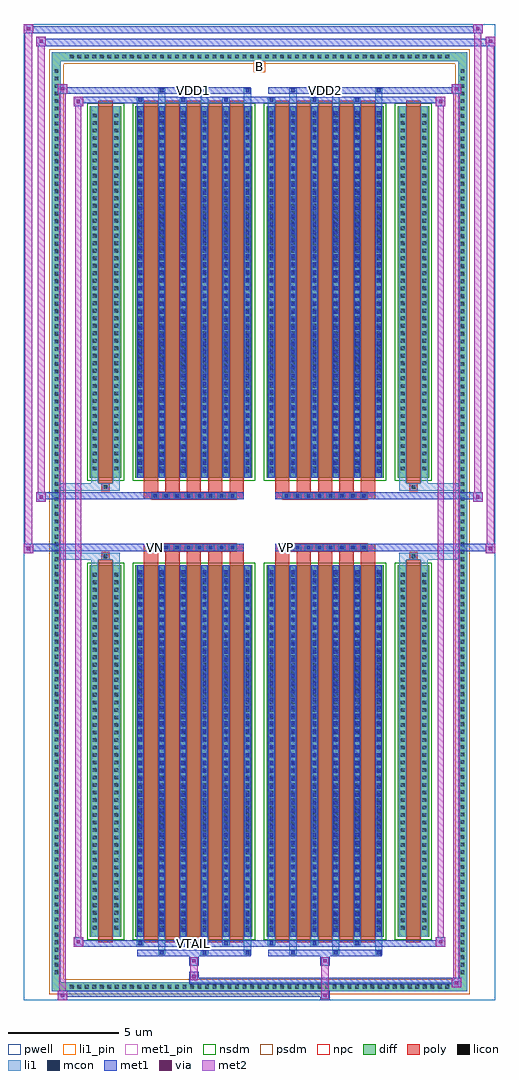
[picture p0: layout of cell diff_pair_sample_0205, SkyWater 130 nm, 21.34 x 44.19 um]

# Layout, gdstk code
import gdstk
lib = gdstk.Library(unit=1e-6, precision=5e-09)
def R(c, l, rs):  # rectangles x0, y0, x1, y1
    for r in rs: c.add(gdstk.rectangle(r[:2], r[2:], *l))
def A(c, l, x, y, w, h, nx, ny, dx, dy):  # array of equal rectangles
    R(c, l, [(x+i*dx, y+j*dy, x+i*dx+w, y+j*dy+h) for i in range(nx) for j in range(ny)])
def P(c, l, *ps):  # polygons
    for p in ps: c.add(gdstk.Polygon(p, *l))
pwell = (64, 44)
diff = (65, 20)
poly = (66, 20)
licon = (66, 44)
li1_pin = (67, 16)
li1 = (67, 20)
mcon = (67, 44)
met1_pin = (68, 16)
met1 = (68, 20)
via = (68, 44)
met2 = (69, 20)
nsdm = (93, 44)
psdm = (94, 20)
npc = (95, 20)

diff_pair_sample_0205 = lib.new_cell('diff_pair_sample_0205')
R(diff_pair_sample_0205, pwell, [(-10.67,-21.66,10.67,22.53), (-7.99,-19.85,-0.01,-0.805), (0.01,-19.85,7.99,-0.805), (-7.99,0.805,-0.01,19.85), (0.01,0.805,7.99,19.85)])
A(diff_pair_sample_0205, diff, -8.705, -21.26, 0.41, 0.41, 51, 2, 0.34, 42.11)
A(diff_pair_sample_0205, diff, -9.4, -20.605, 0.41, 0.41, 1, 121, 0, 0.34)
A(diff_pair_sample_0205, diff, 8.99, -20.605, 0.41, 0.41, 1, 121, 0, 0.34)
R(diff_pair_sample_0205, diff, [(-8.705,-21.26,8.705,-20.85), (-9.4,-20.605,-8.99,20.605), (8.99,-20.605,9.4,20.605), (-7.68,-18.805,-6.26,-1.985), (-5.62,-18.805,-0.32,-1.985), (0.32,-18.805,5.62,-1.985), (6.26,-18.805,7.68,-1.985), (-7.68,1.985,-6.26,18.805), (-5.62,1.985,-0.32,18.805), (0.32,1.985,5.62,18.805), (6.26,1.985,7.68,18.805), (-8.705,20.85,8.705,21.26)])
P(diff_pair_sample_0205, diff, [(9.4,21.26),(-9.4,21.26),(-9.4,-20.85),(-8.99,-20.85),(-8.99,20.85),(8.99,20.85),(8.99,-20.85),(-8.99,-20.85),(-9.4,-20.85),(-9.4,-21.26),(9.4,-21.26)])
A(diff_pair_sample_0205, poly, -5.23, -19.055, 0.64, 17.32, 5, 2, 0.97, 20.79)
A(diff_pair_sample_0205, poly, 0.71, -19.055, 0.64, 17.32, 5, 2, 0.97, 20.79)
A(diff_pair_sample_0205, poly, -5.23, -1.735, 0.64, 0.4, 5, 2, 0.97, 3.07)
A(diff_pair_sample_0205, poly, 0.71, -1.735, 0.64, 0.4, 5, 2, 0.97, 3.07)
A(diff_pair_sample_0205, poly, -4.885, -1.335, 0.33, 0.33, 8, 2, 0.5, 2.34)
A(diff_pair_sample_0205, poly, 1.055, -1.335, 0.33, 0.33, 8, 2, 0.5, 2.34)
R(diff_pair_sample_0205, poly, [(-7.29,-19.055,-6.65,-1.735), (6.65,-19.055,7.29,-1.735), (-7.135,-1.735,-6.805,-1.405), (-7.135,-1.735,-6.805,-1.405), (6.805,-1.735,7.135,-1.405), (6.805,-1.735,7.135,-1.405), (-5.23,-1.335,-0.71,-1.005), (0.71,-1.335,5.23,-1.005), (-5.23,1.005,-0.71,1.335), (0.71,1.005,5.23,1.335), (-7.135,1.405,-6.805,1.735), (-7.135,1.405,-6.805,1.735), (6.805,1.405,7.135,1.735), (6.805,1.405,7.135,1.735), (-7.29,1.735,-6.65,19.055), (6.65,1.735,7.29,19.055)])
A(diff_pair_sample_0205, licon, -8.585, -21.14, 0.17, 0.17, 51, 2, 0.34, 42.11)
A(diff_pair_sample_0205, licon, -9.28, -20.485, 0.17, 0.17, 1, 121, 0, 0.34)
A(diff_pair_sample_0205, licon, 9.11, -20.485, 0.17, 0.17, 1, 121, 0, 0.34)
A(diff_pair_sample_0205, licon, -7.54, -18.47, 0.17, 0.17, 1, 48, 0, 0.34)
A(diff_pair_sample_0205, licon, -6.57, -18.47, 0.17, 0.17, 1, 48, 0, 0.34)
A(diff_pair_sample_0205, licon, -5.48, -18.47, 0.17, 0.17, 6, 48, 0.97, 0.34)
A(diff_pair_sample_0205, licon, 0.46, -18.47, 0.17, 0.17, 6, 48, 0.97, 0.34)
A(diff_pair_sample_0205, licon, 6.4, -18.47, 0.17, 0.17, 1, 48, 0, 0.34)
A(diff_pair_sample_0205, licon, 7.37, -18.47, 0.17, 0.17, 1, 48, 0, 0.34)
A(diff_pair_sample_0205, licon, -4.805, -1.255, 0.17, 0.17, 8, 2, 0.5, 2.34)
A(diff_pair_sample_0205, licon, 1.135, -1.255, 0.17, 0.17, 8, 2, 0.5, 2.34)
A(diff_pair_sample_0205, licon, -7.54, 2.32, 0.17, 0.17, 1, 48, 0, 0.34)
A(diff_pair_sample_0205, licon, -6.57, 2.32, 0.17, 0.17, 1, 48, 0, 0.34)
A(diff_pair_sample_0205, licon, -5.48, 2.32, 0.17, 0.17, 6, 48, 0.97, 0.34)
A(diff_pair_sample_0205, licon, 0.46, 2.32, 0.17, 0.17, 6, 48, 0.97, 0.34)
A(diff_pair_sample_0205, licon, 6.4, 2.32, 0.17, 0.17, 1, 48, 0, 0.34)
A(diff_pair_sample_0205, licon, 7.37, 2.32, 0.17, 0.17, 1, 48, 0, 0.34)
R(diff_pair_sample_0205, licon, [(-7.055,-1.655,-6.885,-1.485), (6.885,-1.655,7.055,-1.485), (-7.055,1.485,-6.885,1.655), (6.885,1.485,7.055,1.655)])
R(diff_pair_sample_0205, li1_pin, [(-0.25,20.35,0.25,20.85)])
A(diff_pair_sample_0205, li1, -8.665, -21.22, 0.33, 0.33, 51, 2, 0.34, 42.11)
A(diff_pair_sample_0205, li1, -9.36, -20.565, 0.33, 0.33, 1, 121, 0, 0.34)
A(diff_pair_sample_0205, li1, 9.03, -20.565, 0.33, 0.33, 1, 121, 0, 0.34)
A(diff_pair_sample_0205, li1, -4.59, -19.61, 0.33, 0.805, 3, 2, 1.94, 38.415)
A(diff_pair_sample_0205, li1, -4.51, -19.61, 0.17, 0.17, 3, 2, 1.94, 39.05)
A(diff_pair_sample_0205, li1, 1.35, -19.61, 0.33, 0.805, 3, 2, 1.94, 38.415)
A(diff_pair_sample_0205, li1, 1.43, -19.61, 0.17, 0.17, 3, 2, 1.94, 39.05)
A(diff_pair_sample_0205, li1, -5.56, -19.18, 0.33, 0.375, 3, 2, 1.94, 37.985)
A(diff_pair_sample_0205, li1, -5.48, -19.18, 0.17, 0.17, 3, 2, 1.94, 38.19)
A(diff_pair_sample_0205, li1, 0.38, -19.18, 0.33, 0.375, 3, 2, 1.94, 37.985)
A(diff_pair_sample_0205, li1, 0.46, -19.18, 0.17, 0.17, 3, 2, 1.94, 38.19)
A(diff_pair_sample_0205, li1, -5.56, -18.805, 0.33, 16.82, 6, 2, 0.97, 20.79)
A(diff_pair_sample_0205, li1, 0.38, -18.805, 0.33, 16.82, 6, 2, 0.97, 20.79)
A(diff_pair_sample_0205, li1, -5.48, -18.58, 0.17, 0.17, 6, 46, 0.97, 0.36)
A(diff_pair_sample_0205, li1, -5.48, -18.58, 0.17, 16.37, 6, 2, 0.97, 20.79)
A(diff_pair_sample_0205, li1, 0.46, -18.58, 0.17, 0.17, 6, 46, 0.97, 0.36)
A(diff_pair_sample_0205, li1, 0.46, -18.58, 0.17, 16.37, 6, 2, 0.97, 20.79)
A(diff_pair_sample_0205, li1, -7.62, -18.55, 0.33, 0.33, 1, 48, 0, 0.34)
A(diff_pair_sample_0205, li1, -6.65, -18.55, 0.33, 0.33, 1, 48, 0, 0.34)
A(diff_pair_sample_0205, li1, -5.56, -18.55, 0.33, 0.33, 6, 48, 0.97, 0.34)
A(diff_pair_sample_0205, li1, 0.38, -18.55, 0.33, 0.33, 6, 48, 0.97, 0.34)
A(diff_pair_sample_0205, li1, 6.32, -18.55, 0.33, 0.33, 1, 48, 0, 0.34)
A(diff_pair_sample_0205, li1, 7.29, -18.55, 0.33, 0.33, 1, 48, 0, 0.34)
A(diff_pair_sample_0205, li1, -4.885, -1.335, 0.33, 0.33, 8, 2, 0.5, 2.34)
A(diff_pair_sample_0205, li1, 1.055, -1.335, 0.33, 0.33, 8, 2, 0.5, 2.34)
A(diff_pair_sample_0205, li1, -5.48, 2.21, 0.17, 0.17, 6, 46, 0.97, 0.36)
A(diff_pair_sample_0205, li1, 0.46, 2.21, 0.17, 0.17, 6, 46, 0.97, 0.36)
A(diff_pair_sample_0205, li1, -7.62, 2.24, 0.33, 0.33, 1, 48, 0, 0.34)
A(diff_pair_sample_0205, li1, -6.65, 2.24, 0.33, 0.33, 1, 48, 0, 0.34)
A(diff_pair_sample_0205, li1, -5.56, 2.24, 0.33, 0.33, 6, 48, 0.97, 0.34)
A(diff_pair_sample_0205, li1, 0.38, 2.24, 0.33, 0.33, 6, 48, 0.97, 0.34)
A(diff_pair_sample_0205, li1, 6.32, 2.24, 0.33, 0.33, 1, 48, 0, 0.34)
A(diff_pair_sample_0205, li1, 7.29, 2.24, 0.33, 0.33, 1, 48, 0, 0.34)
R(diff_pair_sample_0205, li1, [(-9.4,-21.26,-8.99,-20.85), (-9.4,-21.26,-8.99,-20.85), (-8.99,-21.26,8.99,-20.85), (8.99,-21.26,9.4,-20.85), (8.99,-21.26,9.4,-20.85), (-9.4,-20.85,-8.99,20.85), (8.99,-20.85,9.4,20.85), (-7.62,-18.805,-7.29,-1.985), (-6.65,-18.805,-6.32,-1.985), (6.32,-18.805,6.65,-1.985), (7.29,-18.805,7.62,-1.985), (-7.62,-1.985,-7.29,-1.405), (-6.65,-1.985,-6.32,-1.405), (6.32,-1.985,6.65,-1.405), (7.29,-1.985,7.62,-1.405), (-9.4,-1.735,-7.135,-1.405), (-7.62,-1.735,-7.135,-1.405), (-7.135,-1.735,-6.805,-1.405), (-6.805,-1.735,-6.32,-1.405), (6.32,-1.735,6.805,-1.405), (6.805,-1.735,7.135,-1.405), (6.805,-1.735,9.4,-1.405), (7.135,-1.735,7.62,-1.405), (-9.4,1.405,-7.135,1.735), (-7.62,1.405,-7.135,1.735), (-7.62,1.405,-7.29,1.985), (-7.135,1.405,-6.805,1.735), (-6.805,1.405,-6.32,1.735), (-6.65,1.405,-6.32,1.985), (6.32,1.405,6.805,1.735), (6.32,1.405,6.65,1.985), (6.805,1.405,7.135,1.735), (6.805,1.405,9.4,1.735), (7.135,1.405,7.62,1.735), (7.29,1.405,7.62,1.985), (-7.62,1.985,-7.29,18.805), (-6.65,1.985,-6.32,18.805), (6.32,1.985,6.65,18.805), (7.29,1.985,7.62,18.805), (-9.4,20.85,-8.99,21.26), (-9.4,20.85,-8.99,21.26), (-8.99,20.85,8.99,21.26), (8.99,20.85,9.4,21.26), (8.99,20.85,9.4,21.26)])
A(diff_pair_sample_0205, mcon, -4.51, -19.61, 0.17, 0.17, 3, 2, 1.94, 39.05)
A(diff_pair_sample_0205, mcon, 1.43, -19.61, 0.17, 0.17, 3, 2, 1.94, 39.05)
A(diff_pair_sample_0205, mcon, -5.48, -19.18, 0.17, 0.17, 3, 2, 1.94, 38.19)
A(diff_pair_sample_0205, mcon, 0.46, -19.18, 0.17, 0.17, 3, 2, 1.94, 38.19)
A(diff_pair_sample_0205, mcon, -5.48, -18.58, 0.17, 0.17, 6, 46, 0.97, 0.36)
A(diff_pair_sample_0205, mcon, 0.46, -18.58, 0.17, 0.17, 6, 46, 0.97, 0.36)
A(diff_pair_sample_0205, mcon, -4.805, -1.255, 0.17, 0.17, 8, 2, 0.5, 2.34)
A(diff_pair_sample_0205, mcon, 1.135, -1.255, 0.17, 0.17, 8, 2, 0.5, 2.34)
A(diff_pair_sample_0205, mcon, -5.48, 2.21, 0.17, 0.17, 6, 46, 0.97, 0.36)
A(diff_pair_sample_0205, mcon, 0.46, 2.21, 0.17, 0.17, 6, 46, 0.97, 0.36)
R(diff_pair_sample_0205, met1_pin, [(-3.105,-19.22,-2.835,-18.95), (-4.855,-1.295,-4.585,-1.025), (1.085,-1.295,1.355,-1.025), (-3.105,19.4,-2.835,19.67), (2.835,19.4,3.105,19.67)])
A(diff_pair_sample_0205, met1, -4.57, -19.67, 0.29, 0.29, 3, 2, 1.94, 39.05)
A(diff_pair_sample_0205, met1, 1.37, -19.67, 0.29, 0.29, 3, 2, 1.94, 39.05)
A(diff_pair_sample_0205, met1, -5.54, -19.24, 0.29, 0.29, 3, 2, 1.94, 38.19)
A(diff_pair_sample_0205, met1, 0.4, -19.24, 0.29, 0.29, 3, 2, 1.94, 38.19)
A(diff_pair_sample_0205, met1, -5.54, -18.805, 0.29, 16.82, 6, 2, 0.97, 20.79)
A(diff_pair_sample_0205, met1, 0.4, -18.805, 0.29, 16.82, 6, 2, 0.97, 20.79)
A(diff_pair_sample_0205, met1, -5.54, -18.64, 0.29, 0.29, 6, 46, 0.97, 0.36)
A(diff_pair_sample_0205, met1, 0.4, -18.64, 0.29, 0.29, 6, 46, 0.97, 0.36)
A(diff_pair_sample_0205, met1, -4.865, -1.315, 0.29, 0.29, 8, 2, 0.5, 2.34)
A(diff_pair_sample_0205, met1, 1.075, -1.315, 0.29, 0.29, 8, 2, 0.5, 2.34)
A(diff_pair_sample_0205, met1, -5.54, 2.15, 0.29, 0.29, 6, 46, 0.97, 0.36)
A(diff_pair_sample_0205, met1, 0.4, 2.15, 0.29, 0.29, 6, 46, 0.97, 0.36)
R(diff_pair_sample_0205, met1, [(-9.13,-21.66,-8.7,-21.23), (2.755,-21.66,3.185,-21.23), (-9.13,-21.52,3.185,-21.23), (8.7,-21.09,9.13,-20.66), (-3.185,-20.95,9.13,-20.66), (-3.185,-20.81,-2.755,-20.38), (-3.185,-20.1,-2.755,-19.67), (2.755,-20.1,3.185,-19.67), (-5.54,-19.67,-0.4,-19.38), (0.4,-19.67,5.54,-19.38), (-8.42,-19.24,-7.99,-18.81), (-8.42,-19.24,-5.54,-18.95), (-5.54,-19.24,-0.4,-18.95), (-0.4,-19.24,0.4,-18.95), (0.4,-19.24,5.54,-18.95), (5.54,-19.24,8.42,-18.95), (7.99,-19.24,8.42,-18.81), (-10.67,-1.435,-10.24,-1.005), (10.24,-1.435,10.67,-1.005), (-10.67,-1.335,-0.71,-1.005), (-5.23,-1.335,-0.71,-1.005), (0.71,-1.335,5.23,-1.005), (0.71,-1.335,10.67,-1.005), (-10.1,0.905,-9.67,1.335), (9.67,0.905,10.1,1.335), (-10.1,1.005,-5.23,1.335), (-5.23,1.005,-0.71,1.335), (0.71,1.005,5.23,1.335), (5.23,1.005,10.1,1.335), (-8.42,18.81,-7.99,19.24), (7.99,18.81,8.42,19.24), (-8.42,18.95,-5.54,19.24), (-5.54,18.95,-0.4,19.24), (-0.4,18.95,0.4,19.24), (0.4,18.95,5.54,19.24), (5.54,18.95,8.42,19.24), (-9.13,19.38,-8.7,19.81), (-9.13,19.38,-5.54,19.67), (-5.54,19.38,-0.4,19.67), (0.4,19.38,5.54,19.67), (5.54,19.38,9.13,19.67), (8.7,19.38,9.13,19.81), (-10.1,21.53,-9.67,21.96), (-10.1,21.53,-7.99,21.86), (-7.99,21.53,7.99,21.86), (7.99,21.53,10.67,21.86), (10.24,21.53,10.67,21.96), (-10.67,22.1,-10.24,22.53), (-10.67,22.1,-7.99,22.43), (-7.99,22.1,7.99,22.43), (7.99,22.1,10.1,22.43), (9.67,22.1,10.1,22.53)])
R(diff_pair_sample_0205, via, [(-8.99,-21.52,-8.84,-21.37), (2.895,-21.52,3.045,-21.37), (8.84,-20.95,8.99,-20.8), (-3.045,-20.67,-2.895,-20.52), (-3.045,-19.96,-2.895,-19.81), (2.895,-19.96,3.045,-19.81), (-8.28,-19.1,-8.13,-18.95), (8.13,-19.1,8.28,-18.95), (-10.53,-1.295,-10.38,-1.145), (10.38,-1.295,10.53,-1.145), (-9.96,1.045,-9.81,1.195), (9.81,1.045,9.96,1.195), (-8.28,18.95,-8.13,19.1), (8.13,18.95,8.28,19.1), (-8.99,19.52,-8.84,19.67), (8.84,19.52,8.99,19.67), (-9.96,21.67,-9.81,21.82), (10.38,21.67,10.53,21.82), (-10.53,22.24,-10.38,22.39), (9.81,22.24,9.96,22.39)])
R(diff_pair_sample_0205, met2, [(-9.13,-21.66,-8.7,-21.23), (-9.06,-21.66,-8.77,19.81), (-8.77,-21.66,-8.7,-21.23), (-9.08,-21.61,-8.75,-21.28), (2.805,-21.61,3.135,-21.28), (2.805,-21.28,3.135,-20.05), (8.7,-21.09,9.13,-20.66), (8.77,-21.09,9.06,19.81), (9.06,-21.09,9.13,-20.66), (8.75,-21.04,9.08,-20.71), (-3.135,-20.76,-2.805,-20.43), (-3.135,-20.43,-2.805,-20.05), (-3.135,-20.05,-2.805,-19.72), (2.805,-20.05,3.135,-19.72), (-8.42,-19.24,-7.99,-18.81), (-8.35,-19.24,-8.06,19.24), (-8.06,-19.24,-7.99,-18.81), (7.99,-19.24,8.42,-18.81), (8.06,-19.24,8.35,19.24), (8.35,-19.24,8.42,-18.81), (-8.37,-19.19,-8.04,-18.86), (8.04,-19.19,8.37,-18.86), (-10.67,-1.435,-10.24,-1.005), (-10.62,-1.435,-10.29,22.53), (-10.29,-1.435,-10.24,-1.005), (10.24,-1.435,10.67,-1.005), (10.29,-1.435,10.62,21.96), (10.62,-1.435,10.67,-1.005), (-10.62,-1.385,-10.29,-1.055), (10.29,-1.385,10.62,-1.055), (-10.1,0.905,-9.67,1.335), (-10.05,0.905,-9.72,21.96), (-9.72,0.905,-9.67,1.335), (9.67,0.905,10.1,1.335), (9.72,0.905,10.05,22.53), (10.05,0.905,10.1,1.335), (-10.05,0.955,-9.72,1.285), (9.72,0.955,10.05,1.285), (-8.42,18.81,-7.99,19.24), (-8.06,18.81,-7.99,19.24), (7.99,18.81,8.42,19.24), (8.35,18.81,8.42,19.24), (-8.37,18.86,-8.04,19.19), (8.04,18.86,8.37,19.19), (-9.13,19.38,-8.7,19.81), (-8.77,19.38,-8.7,19.81), (8.7,19.38,9.13,19.81), (9.06,19.38,9.13,19.81), (-9.08,19.43,-8.75,19.76), (8.75,19.43,9.08,19.76), (-10.1,21.53,-9.67,21.96), (-9.72,21.53,-9.67,21.96), (10.24,21.53,10.67,21.96), (10.62,21.53,10.67,21.96), (-10.05,21.58,-9.72,21.91), (10.29,21.58,10.62,21.91), (-10.67,22.1,-10.24,22.53), (-10.29,22.1,-10.24,22.53), (9.67,22.1,10.1,22.53), (10.05,22.1,10.1,22.53), (-10.62,22.15,-10.29,22.48), (9.72,22.15,10.05,22.48)])
R(diff_pair_sample_0205, nsdm, [(-7.81,-18.935,-6.13,-1.855), (-5.75,-18.935,-0.19,-1.855), (0.19,-18.935,5.75,-1.855), (6.13,-18.935,7.81,-1.855), (-7.81,1.855,-6.13,18.935), (-5.75,1.855,-0.19,18.935), (0.19,1.855,5.75,18.935), (6.13,1.855,7.81,18.935)])
P(diff_pair_sample_0205, psdm, [(9.53,21.39),(-9.53,21.39),(-9.53,-20.72),(-8.86,-20.72),(-8.86,20.72),(8.86,20.72),(8.86,-20.72),(-8.86,-20.72),(-9.53,-20.72),(-9.53,-21.39),(9.53,-21.39)])
A(diff_pair_sample_0205, npc, -4.905, -1.355, 0.37, 0.37, 8, 2, 0.5, 2.34)
A(diff_pair_sample_0205, npc, 1.035, -1.355, 0.37, 0.37, 8, 2, 0.5, 2.34)
R(diff_pair_sample_0205, npc, [(-7.155,-1.755,-6.785,-1.385), (6.785,-1.755,7.155,-1.385), (-4.905,-1.355,-4.035,-0.985), (-4.905,-1.355,-4.035,-0.985), (-4.405,-1.355,-3.535,-0.985), (-4.405,-1.355,-3.535,-0.985), (-3.905,-1.355,-3.035,-0.985), (-3.905,-1.355,-3.035,-0.985), (-3.405,-1.355,-2.535,-0.985), (-3.405,-1.355,-2.535,-0.985), (-2.905,-1.355,-2.035,-0.985), (-2.905,-1.355,-2.035,-0.985), (-2.405,-1.355,-1.535,-0.985), (-2.405,-1.355,-1.535,-0.985), (-1.905,-1.355,-1.035,-0.985), (-1.905,-1.355,-1.035,-0.985), (1.035,-1.355,1.905,-0.985), (1.035,-1.355,1.905,-0.985), (1.535,-1.355,2.405,-0.985), (1.535,-1.355,2.405,-0.985), (2.035,-1.355,2.905,-0.985), (2.035,-1.355,2.905,-0.985), (2.535,-1.355,3.405,-0.985), (2.535,-1.355,3.405,-0.985), (3.035,-1.355,3.905,-0.985), (3.035,-1.355,3.905,-0.985), (3.535,-1.355,4.405,-0.985), (3.535,-1.355,4.405,-0.985), (4.035,-1.355,4.905,-0.985), (4.035,-1.355,4.905,-0.985), (-4.905,0.985,-4.035,1.355), (-4.905,0.985,-4.035,1.355), (-4.405,0.985,-3.535,1.355), (-4.405,0.985,-3.535,1.355), (-3.905,0.985,-3.035,1.355), (-3.905,0.985,-3.035,1.355), (-3.405,0.985,-2.535,1.355), (-3.405,0.985,-2.535,1.355), (-2.905,0.985,-2.035,1.355), (-2.905,0.985,-2.035,1.355), (-2.405,0.985,-1.535,1.355), (-2.405,0.985,-1.535,1.355), (-1.905,0.985,-1.035,1.355), (-1.905,0.985,-1.035,1.355), (1.035,0.985,1.905,1.355), (1.035,0.985,1.905,1.355), (1.535,0.985,2.405,1.355), (1.535,0.985,2.405,1.355), (2.035,0.985,2.905,1.355), (2.035,0.985,2.905,1.355), (2.535,0.985,3.405,1.355), (2.535,0.985,3.405,1.355), (3.035,0.985,3.905,1.355), (3.035,0.985,3.905,1.355), (3.535,0.985,4.405,1.355), (3.535,0.985,4.405,1.355), (4.035,0.985,4.905,1.355), (4.035,0.985,4.905,1.355), (-7.155,1.385,-6.785,1.755), (6.785,1.385,7.155,1.755)])
diff_pair_sample_0205.add(gdstk.Label('VTAIL', (-2.97,-19.085), layer=68, texttype=5))
diff_pair_sample_0205.add(gdstk.Label('VN', (-4.72,-1.16), layer=68, texttype=5))
diff_pair_sample_0205.add(gdstk.Label('VP', (1.22,-1.16), layer=68, texttype=5))
diff_pair_sample_0205.add(gdstk.Label('B', (0,20.6), layer=67, texttype=5))
diff_pair_sample_0205.add(gdstk.Label('VDD2', (2.97,19.535), layer=68, texttype=5))
diff_pair_sample_0205.add(gdstk.Label('VDD1', (-2.97,19.535), layer=68, texttype=5))

lib.write_gds('diff_pair_sample_0205.gds')
